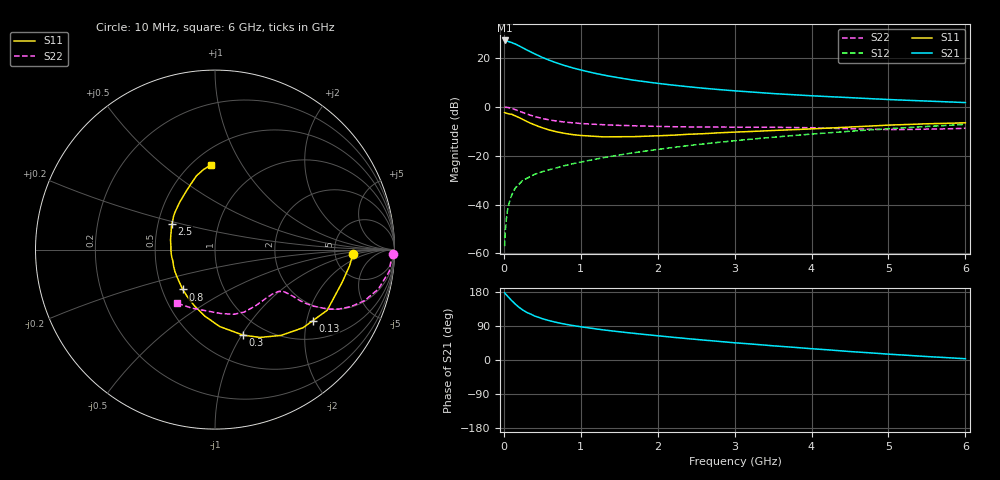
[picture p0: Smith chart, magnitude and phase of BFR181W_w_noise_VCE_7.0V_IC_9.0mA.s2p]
! Infineon Technologies  Discrete & RF Semiconductors
! BFR181W
! VCE =  7.0 V,  IC =  9.0 mA
! Common Emitter S-Parameters:  Jan 2017
# GHz  S  MA  R  50
!  f  S11  S21  S12  S22
! GHz  MAG  ANG  MAG  ANG  MAG  ANG  MAG  ANG
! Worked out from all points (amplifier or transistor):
!   77 points, 10 MHz to 6 GHz, reference 50 ohm
!   highest |S21| = 27.2 dB at 10 MHz (marker M1)
!   |S21| within 3 dB of that: start of sweep to 245.2 MHz
!   unconditionally stable (mu >= 1): 1.093 GHz to 3.064 GHz
!   at 130 MHz: K = 0.25, MSG = 30.2 dB, |S12| = -34.3 dB
!   at 2.2 GHz: K = 1.06, MAG = 11.3 dB, |S12| = -16.6 dB
!   at 6 GHz: K = 0.85, MSG = 4.5 dB, |S12| = -7.2 dB
!   lowest NFmin = 1.18 dB at 450 MHz
!   S11 on the Smith chart (normalised r, x): 10 MHz: 7.50, -0.98; 130 MHz: 1.50, -2.17; 300 MHz: 0.80, -1.02; 800 MHz: 0.64, -0.31; 2.5 GHz: 0.59, +0.18; 6 GHz: 0.61, +0.75
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0.01  0.7684 -2.0  23.04 177.7  0.0014 87.2  0.9941 -1.4
0.03  0.7459 -9.3  22.48 172.5  0.0046 85.2  0.9817 -4.1
0.05  0.7316 -14.4  22.17 168.1  0.008 80.5  0.9786 -7.1
0.08  0.7138 -22.7  21.34 161.6  0.0123 77.8  0.9516 -10.9
0.1  0.7106 -28.4  20.95 157.1  0.0152 76.8  0.936 -13.6
0.13  0.6733 -36.1  19.99 151.4  0.0192 73.4  0.9014 -16.7
0.15  0.6558 -41.6  19.46 147.3  0.0219 71.9  0.8799 -18.9
0.2  0.6033 -52.4  17.74 138.6  0.0263 68.6  0.8201 -22.8
0.25  0.5505 -62.7  16.16 131.4  0.0318 64.4  0.7645 -25.7
0.3  0.5024 -71.7  14.66 125.4  0.0344 62.6  0.7133 -27.7
0.4  0.4296 -86.5  12.25 116.0  0.0415 61.3  0.6351 -29.8
0.5  0.374 -99.0  10.36 109.0  0.0471 60.8  0.5792 -30.8
0.6  0.334 -110.0  8.95 103.3  0.0521 61.3  0.539 -31.0
0.8  0.2859 -129.0  6.993 94.4  0.0632 63.0  0.4886 -31.0
1.1  0.2544 -151.5  5.246 84.9  0.0797 64.6  0.4485 -31.5
1.5  0.245 -174.5  3.945 74.6  0.1032 66.2  0.4189 -34.2
2.1  0.2596 161.2  2.919 62.0  0.1411 65.9  0.396 -41.7
2.5  0.2788 149.3  2.502 54.4  0.168 64.8  0.3884 -48.2
3.1  0.3089 134.9  2.084 44.0  0.2099 62.2  0.3839 -58.4
4.1  0.361 116.6  1.663 28.4  0.2852 56.0  0.3708 -75.8
5.1  0.4289 102.8  1.397 14.2  0.365 48.0  0.3443 -100.5
6  0.4728 92.4  1.229 3.3  0.4389 39.8  0.3653 -125.2
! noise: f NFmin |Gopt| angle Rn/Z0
0.45  1.18  0.17  16  0.21
0.9  1.23  0.16  31  0.21
1.9  1.65  0.05  107  0.2
2.4  1.82  0.03  116  0.23
